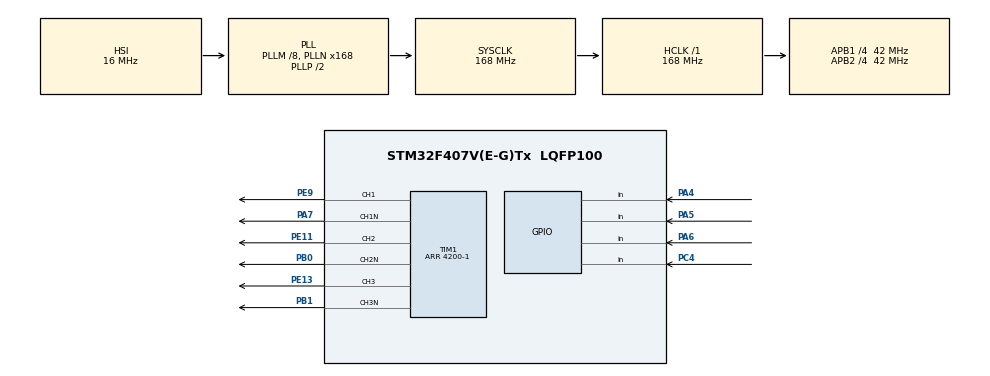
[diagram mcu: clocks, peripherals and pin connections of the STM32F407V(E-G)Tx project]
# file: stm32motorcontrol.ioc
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Mcu.Family=STM32F4
Mcu.Name=STM32F407V(E-G)Tx
Mcu.Package=LQFP100
NVIC.PriorityGroup=NVIC_PRIORITYGROUP_4
NVIC.TIM1_UP_TIM10_IRQn=true\:0\:0\:false\:false\:true\:true\:true
PA13.Mode=Serial_Wire
PA13.Signal=SYS_JTMS-SWDIO
PA14.Mode=Serial_Wire
PA14.Signal=SYS_JTCK-SWCLK
PA4.GPIO_PuPd=GPIO_PULLDOWN
PA4.Signal=GPIO_Input
PA5.GPIO_PuPd=GPIO_PULLDOWN
PA5.Signal=GPIO_Input
PA6.GPIO_PuPd=GPIO_PULLDOWN
PA6.Signal=GPIO_Input
PA7.Mode=PWM Generation1 CH1 CH1N
PA7.Signal=TIM1_CH1N
PB0.Mode=PWM Generation2 CH2 CH2N
PB0.Signal=TIM1_CH2N
PB1.Mode=PWM Generation3 CH3 CH3N
PB1.Signal=TIM1_CH3N
PC4.Signal=GPIO_Input
PE11.Signal=S_TIM1_CH2
PE13.Signal=S_TIM1_CH3
PE9.Signal=S_TIM1_CH1
ProjectManager.HeapSize=0x200
ProjectManager.StackSize=0x400
ProjectManager.TargetToolchain=STM32CubeIDE
RCC.48MHZClocksFreq_Value=84000000
RCC.AHBFreq_Value=168000000
RCC.APB1CLKDivider=RCC_HCLK_DIV4
RCC.APB1Freq_Value=42000000
RCC.APB1TimFreq_Value=84000000
RCC.APB2CLKDivider=RCC_HCLK_DIV4
RCC.APB2Freq_Value=42000000
RCC.APB2TimFreq_Value=84000000
RCC.CortexFreq_Value=168000000
RCC.HCLKFreq_Value=168000000
RCC.HSE_VALUE=25000000
RCC.HSI_VALUE=16000000
RCC.LSE_VALUE=32768
RCC.PLLM=8
RCC.PLLN=168
RCC.SYSCLKFreq_VALUE=168000000
RCC.SYSCLKSource=RCC_SYSCLKSOURCE_PLLCLK
RCC.VCOOutputFreq_Value=336000000
SH.S_TIM1_CH1.0=TIM1_CH1,PWM Generation1 CH1 CH1N
SH.S_TIM1_CH2.0=TIM1_CH2,PWM Generation2 CH2 CH2N
SH.S_TIM1_CH3.0=TIM1_CH3,PWM Generation3 CH3 CH3N
TIM1.AutoReloadPreload=TIM_AUTORELOAD_PRELOAD_ENABLE
TIM1.BreakState=TIM_BREAK_ENABLE
TIM1.Channel-PWM\ Generation1\ CH1\ CH1N=TIM_CHANNEL_1
TIM1.Channel-PWM\ Generation2\ CH2\ CH2N=TIM_CHANNEL_2
TIM1.Channel-PWM\ Generation3\ CH3\ CH3N=TIM_CHANNEL_3
TIM1.CounterMode=TIM_COUNTERMODE_CENTERALIGNED1
TIM1.DeadTime=168
TIM1.Period=4200-1
TIM1.Pulse-PWM\ Generation1\ CH1\ CH1N=101
TIM1.Pulse-PWM\ Generation2\ CH2\ CH2N=102
TIM1.Pulse-PWM\ Generation3\ CH3\ CH3N=103
TIM1.RepetitionCounter=20-1
TIM1.TIM_MasterOutputTrigger=TIM_TRGO_RESET
VP_TIM1_VS_ClockSourceINT.Mode=Internal
board=custom

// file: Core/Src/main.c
/* USER CODE BEGIN Header */
/**
  ******************************************************************************
  * @file           : main.c
  * @brief          : Main program body
  ******************************************************************************
  * @attention
  *
  * Copyright (c) 2022 STMicroelectronics.
  * All rights reserved.
  *
  * This software is licensed under terms that can be found in the LICENSE file
  * in the root directory of this software component.
  * If no LICENSE file comes with this software, it is provided AS-IS.
  *
  ******************************************************************************
  */
/* USER CODE END Header */
#include "main.h"

/* USER CODE BEGIN Includes */
#include <math.h>
/* USER CODE END Includes */

/* USER CODE BEGIN PTD */
#define ts (float) (0.001)   //sampling time
#define step (float) (5*0.001)	//frequency step considering ramp =10s -> step= (50Hz/10s)*0.001
/* USER CODE END PTD */

TIM_HandleTypeDef htim1;

/* USER CODE BEGIN PV */
float pwmfreq=0, theta=0, theta_prev=0, omega=0, modIndex= 0, freq=0,rampedfreq =0; //sandesh
uint16_t compvalue1=0, compvalue2=0, compvalue3=0, counteronems=0 ;
uint8_t coast=0, rampUp=0, rampDown=0, coastOld=0;
/* USER CODE END PV */

void SystemClock_Config(void);
static void MX_GPIO_Init(void);
static void MX_TIM1_Init(void);

int main(void)
{

  /* MCU Configuration--------------------------------------------------------*/

  /* Reset of all peripherals, Initializes the Flash interface and the Systick. */
  HAL_Init();

  /* Configure the system clock */
  SystemClock_Config();

  /* Initialize all configured peripherals */
  MX_GPIO_Init();
  MX_TIM1_Init();
  /* USER CODE BEGIN 2 */

  HAL_TIM_Base_Start_IT( &htim1 );
  HAL_TIM_PWM_Start( &htim1, TIM_CHANNEL_1 );
  HAL_TIM_PWM_Start( &htim1, TIM_CHANNEL_2 );
  HAL_TIM_PWM_Start( &htim1, TIM_CHANNEL_3 );
  HAL_TIMEx_PWMN_Start( &htim1, TIM_CHANNEL_1 );
  HAL_TIMEx_PWMN_Start( &htim1, TIM_CHANNEL_2 );
  HAL_TIMEx_PWMN_Start( &htim1, TIM_CHANNEL_3 );

  /* USER CODE END 2 */

  /* Infinite loop */
  while (1)
  {

  }
}

void SystemClock_Config(void)
{
  RCC_OscInitTypeDef RCC_OscInitStruct = {0};
  RCC_ClkInitTypeDef RCC_ClkInitStruct = {0};

  /** Configure the main internal regulator output voltage
  */
  __HAL_RCC_PWR_CLK_ENABLE();
  __HAL_PWR_VOLTAGESCALING_CONFIG(PWR_REGULATOR_VOLTAGE_SCALE1);
  /** Initializes the RCC Oscillators according to the specified parameters
  * in the RCC_OscInitTypeDef structure.
  */
  RCC_OscInitStruct.OscillatorType = RCC_OSCILLATORTYPE_HSI;
  RCC_OscInitStruct.HSIState = RCC_HSI_ON;
  RCC_OscInitStruct.HSICalibrationValue = RCC_HSICALIBRATION_DEFAULT;
  RCC_OscInitStruct.PLL.PLLState = RCC_PLL_ON;
  RCC_OscInitStruct.PLL.PLLSource = RCC_PLLSOURCE_HSI;
  RCC_OscInitStruct.PLL.PLLM = 8;
  RCC_OscInitStruct.PLL.PLLN = 168;
  RCC_OscInitStruct.PLL.PLLP = RCC_PLLP_DIV2;
  RCC_OscInitStruct.PLL.PLLQ = 4;
  if (HAL_RCC_OscConfig(&RCC_OscInitStruct) != HAL_OK)
  {
    Error_Handler();
  }
  /** Initializes the CPU, AHB and APB buses clocks
  */
  RCC_ClkInitStruct.ClockType = RCC_CLOCKTYPE_HCLK|RCC_CLOCKTYPE_SYSCLK
                              |RCC_CLOCKTYPE_PCLK1|RCC_CLOCKTYPE_PCLK2;
  RCC_ClkInitStruct.SYSCLKSource = RCC_SYSCLKSOURCE_PLLCLK;
  RCC_ClkInitStruct.AHBCLKDivider = RCC_SYSCLK_DIV1;
  RCC_ClkInitStruct.APB1CLKDivider = RCC_HCLK_DIV4;
  RCC_ClkInitStruct.APB2CLKDivider = RCC_HCLK_DIV4;

  if (HAL_RCC_ClockConfig(&RCC_ClkInitStruct, FLASH_LATENCY_5) != HAL_OK)
  {
    Error_Handler();
  }
}

static void MX_TIM1_Init(void)
{

  TIM_ClockConfigTypeDef sClockSourceConfig = {0};
  TIM_MasterConfigTypeDef sMasterConfig = {0};
  TIM_OC_InitTypeDef sConfigOC = {0};
  TIM_BreakDeadTimeConfigTypeDef sBreakDeadTimeConfig = {0};

  htim1.Instance = TIM1;
  htim1.Init.Prescaler = 0;
  htim1.Init.CounterMode = TIM_COUNTERMODE_CENTERALIGNED1;
  htim1.Init.Period = 4200-1;
  htim1.Init.ClockDivision = TIM_CLOCKDIVISION_DIV1;
  htim1.Init.RepetitionCounter = 20-1;
  htim1.Init.AutoReloadPreload = TIM_AUTORELOAD_PRELOAD_ENABLE;
  if (HAL_TIM_Base_Init(&htim1) != HAL_OK)
  {
    Error_Handler();
  }
  sClockSourceConfig.ClockSource = TIM_CLOCKSOURCE_INTERNAL;
  if (HAL_TIM_ConfigClockSource(&htim1, &sClockSourceConfig) != HAL_OK)
  {
    Error_Handler();
  }
  if (HAL_TIM_PWM_Init(&htim1) != HAL_OK)
  {
    Error_Handler();
  }
  sMasterConfig.MasterOutputTrigger = TIM_TRGO_RESET;
  sMasterConfig.MasterSlaveMode = TIM_MASTERSLAVEMODE_DISABLE;
  if (HAL_TIMEx_MasterConfigSynchronization(&htim1, &sMasterConfig) != HAL_OK)
  {
    Error_Handler();
  }
  sConfigOC.OCMode = TIM_OCMODE_PWM1;
  sConfigOC.Pulse = 101;
  sConfigOC.OCPolarity = TIM_OCPOLARITY_HIGH;
  sConfigOC.OCNPolarity = TIM_OCNPOLARITY_HIGH;
  sConfigOC.OCFastMode = TIM_OCFAST_DISABLE;
  sConfigOC.OCIdleState = TIM_OCIDLESTATE_RESET;
  sConfigOC.OCNIdleState = TIM_OCNIDLESTATE_RESET;
  if (HAL_TIM_PWM_ConfigChannel(&htim1, &sConfigOC, TIM_CHANNEL_1) != HAL_OK)
  {
    Error_Handler();
  }
  sConfigOC.Pulse = 102;
  if (HAL_TIM_PWM_ConfigChannel(&htim1, &sConfigOC, TIM_CHANNEL_2) != HAL_OK)
  {
    Error_Handler();
  }
  sConfigOC.Pulse = 103;
  if (HAL_TIM_PWM_ConfigChannel(&htim1, &sConfigOC, TIM_CHANNEL_3) != HAL_OK)
  {
    Error_Handler();
  }
  sBreakDeadTimeConfig.OffStateRunMode = TIM_OSSR_DISABLE;
  sBreakDeadTimeConfig.OffStateIDLEMode = TIM_OSSI_DISABLE;
  sBreakDeadTimeConfig.LockLevel = TIM_LOCKLEVEL_OFF;
  sBreakDeadTimeConfig.DeadTime = 168;
  sBreakDeadTimeConfig.BreakState = TIM_BREAK_ENABLE;
  sBreakDeadTimeConfig.BreakPolarity = TIM_BREAKPOLARITY_HIGH;
  sBreakDeadTimeConfig.AutomaticOutput = TIM_AUTOMATICOUTPUT_DISABLE;
  if (HAL_TIMEx_ConfigBreakDeadTime(&htim1, &sBreakDeadTimeConfig) != HAL_OK)
  {
    Error_Handler();
  }
  HAL_TIM_MspPostInit(&htim1);

}

static void MX_GPIO_Init(void)
{
  GPIO_InitTypeDef GPIO_InitStruct = {0};

  /* GPIO Ports Clock Enable */
  __HAL_RCC_GPIOA_CLK_ENABLE();
  __HAL_RCC_GPIOC_CLK_ENABLE();
  __HAL_RCC_GPIOB_CLK_ENABLE();
  __HAL_RCC_GPIOE_CLK_ENABLE();

  /*Configure GPIO pins : PA4 PA5 PA6 */
  GPIO_InitStruct.Pin = GPIO_PIN_4|GPIO_PIN_5|GPIO_PIN_6;
  GPIO_InitStruct.Mode = GPIO_MODE_INPUT;
  GPIO_InitStruct.Pull = GPIO_PULLDOWN;
  HAL_GPIO_Init(GPIOA, &GPIO_InitStruct);

  /*Configure GPIO pin : PC4 */
  GPIO_InitStruct.Pin = GPIO_PIN_4;
  GPIO_InitStruct.Mode = GPIO_MODE_INPUT;
  GPIO_InitStruct.Pull = GPIO_NOPULL;
  HAL_GPIO_Init(GPIOC, &GPIO_InitStruct);
}

/* USER CODE BEGIN 4 */
void HAL_TIM_PeriodElapsedCallback(TIM_HandleTypeDef *htim)  // 1ms interrupt
{
	counteronems++; //debug
	coast = HAL_GPIO_ReadPin(GPIOA, GPIO_PIN_4);
	rampUp= HAL_GPIO_ReadPin(GPIOA, GPIO_PIN_5);
	//rampDown= HAL_GPIO_ReadPin(GPIOA, GPIO_PIN_6);
	//coast=0; //sandesh debug temporarily
	//rampUp=1; //sandesh debug temporarily
	rampDown = 0; //sandesh debug temporarily

	if(	(coast==0) && (coastOld==1) )
	{
		//if the timers were disabled previously because of coast enable them again
		HAL_TIM_PWM_Start( &htim1, TIM_CHANNEL_1 );
		HAL_TIM_PWM_Start( &htim1, TIM_CHANNEL_2 );
		HAL_TIM_PWM_Start( &htim1, TIM_CHANNEL_3 );
		HAL_TIMEx_PWMN_Start( &htim1, TIM_CHANNEL_1 );
		HAL_TIMEx_PWMN_Start( &htim1, TIM_CHANNEL_2 );
		HAL_TIMEx_PWMN_Start( &htim1, TIM_CHANNEL_3 );
	}

	coastOld=coast;
	//uint8_t coast, rampUp, rampDown;
	//HAL_GPIO_WritePin(GPIOA, GPIO_PIN_6, GPIO_PIN_RESET)

	if(coast != 1)
	{
		if(rampUp==1 && rampDown==0)
			freq=25;
		if(rampDown==1)
			freq=0;
		if(rampedfreq < freq)
		{
			rampedfreq = rampedfreq + step;
			if(rampedfreq > freq)
				rampedfreq = freq;
		}

		else if(rampedfreq > freq)
		{
			rampedfreq = rampedfreq - step;
			if(rampedfreq < freq)
				rampedfreq = freq;
		}

		modIndex = rampedfreq/50.00;//depending on freq for V/f control

		theta_prev = theta;

		omega = (6.2831 * rampedfreq ); //omega = 2*3.142* frequency

		theta = (omega * 0.001) + theta_prev;

		if(theta >= 6.2831)
			theta  = theta - 6.2831;

		compvalue1= (uint16_t) ((2100*modIndex)+(2100*modIndex*sin(theta)));		//4199 = max comp value
		compvalue2= (uint16_t) ((2100*modIndex)+(2100*modIndex*sin(theta + 2.0944)));
		compvalue3= (uint16_t) ((2100*modIndex)+(2100*modIndex*sin(theta + 4.1888)));
		__HAL_TIM_SET_COMPARE(&htim1, TIM_CHANNEL_1, compvalue1);
		__HAL_TIM_SET_COMPARE(&htim1, TIM_CHANNEL_2, compvalue2);
		__HAL_TIM_SET_COMPARE(&htim1, TIM_CHANNEL_3, compvalue3);
	}
	else if(coast == 1)
	{
		HAL_TIM_PWM_Stop(&htim1, TIM_CHANNEL_1 );
		HAL_TIM_PWM_Stop(&htim1, TIM_CHANNEL_2 );
		HAL_TIM_PWM_Stop(&htim1, TIM_CHANNEL_3 );
		HAL_TIMEx_PWMN_Stop(&htim1, TIM_CHANNEL_1 );
		HAL_TIMEx_PWMN_Stop(&htim1, TIM_CHANNEL_2 );
		HAL_TIMEx_PWMN_Stop(&htim1, TIM_CHANNEL_3 );
	}

}

/* USER CODE END 4 */

void Error_Handler(void)
{
  __disable_irq();
  while (1)
  {
  }
}
